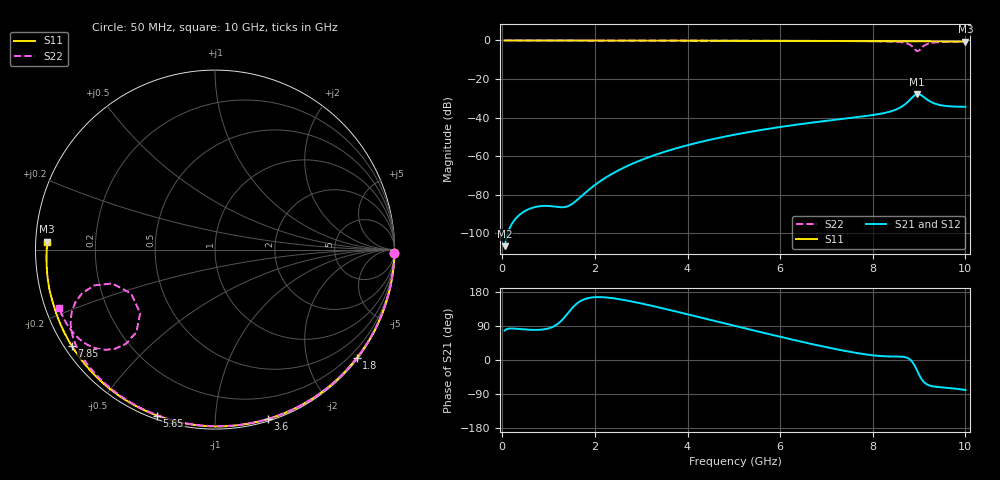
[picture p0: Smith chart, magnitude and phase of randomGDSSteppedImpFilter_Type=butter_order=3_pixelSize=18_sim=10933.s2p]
! freq	dB(S11)	phase(S11)	dB(S12)	phase(S12)
!  dB(S21)	phase(S21)	dB(S22)	phase(S22)
!S-par simulation data
#  GHz  S  DB  R 50
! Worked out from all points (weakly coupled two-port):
!   200 points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, 50 MHz to 10 GHz, reference 50 ohm
!   highest |S21| = -27.81 dB at 8.95 GHz (marker M1); lowest = -106.6 dB at 50 MHz (marker M2)
!   lowest |S11| = -0.6 dB at 10 GHz (marker M3), VSWR 30.03, Z = 1.67 + j1.17 ohm
!   |S11| at or under -10 dB: nowhere
!   |S22| runs from -5.6 to 0.0 dB; largest |S21 - S12| = 0
!   S11 on the Smith chart (normalised r, x): 50 MHz: open; 1.8 GHz: 0.03, -2.94; 3.6 GHz: 0.02, -1.36; 5.65 GHz: 0.02, -0.71; 7.85 GHz: 0.02, -0.31; 10 GHz: 0.03, +0.02
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0.05  -0.00 -1.1  -106.60 77.8  -106.60 77.8  -0.00 -0.9
0.85  -0.02 -18.0  -85.79 80.2  -85.79 80.2  -0.02 -15.9
1.75  -0.05 -36.5  -79.83 159.2  -79.83 159.2  -0.04 -32.4
1.8  -0.05 -37.5  -78.78 161.5  -78.78 161.5  -0.04 -33.3
2.15  -0.06 -44.6  -72.36 165.8  -72.36 165.8  -0.05 -39.6
2.5  -0.07 -51.5  -67.41 161.0  -67.41 161.0  -0.06 -45.9
3.4  -0.09 -68.9  -58.51 138.2  -58.51 138.2  -0.08 -61.6
3.6  -0.10 -72.7  -56.99 132.4  -56.99 132.4  -0.09 -65.0
5.05  -0.15 -98.9  -48.67 89.2  -48.67 89.2  -0.14 -89.0
5.65  -0.18 -109.2  -46.15 71.5  -46.15 71.5  -0.16 -98.6
6.7  -0.25 -126.9  -42.53 41.7  -42.53 41.7  -0.23 -115.3
7.85  -0.34 -145.9  -39.15 14.8  -39.15 14.8  -0.35 -134.4
8.35  -0.39 -154.2  -37.01 9.3  -37.01 9.3  -0.51 -144.8
8.55  -0.41 -157.6  -35.28 9.1  -35.28 9.1  -0.74 -150.6
8.75  -0.44 -160.9  -31.99 5.4  -31.99 5.4  -1.59 -159.2
8.85  -0.45 -162.6  -29.58 -4.3  -29.58 -4.3  -3.07 -163.5
8.95  -0.45 -164.3  -27.81 -25.9  -27.81 -25.9  -5.55 -152.5
9  -0.45 -165.1  -27.84 -38.9  -27.84 -38.9  -5.24 -139.7
9.1  -0.46 -166.9  -29.35 -57.8  -29.35 -57.8  -2.83 -133.4
9.2  -0.47 -168.6  -31.08 -66.2  -31.08 -66.2  -1.64 -137.6
9.5  -0.51 -173.8  -33.68 -72.2  -33.68 -72.2  -0.80 -148.4
10  -0.58 177.3  -34.34 -79.1  -34.34 -79.1  -0.65 -159.7
